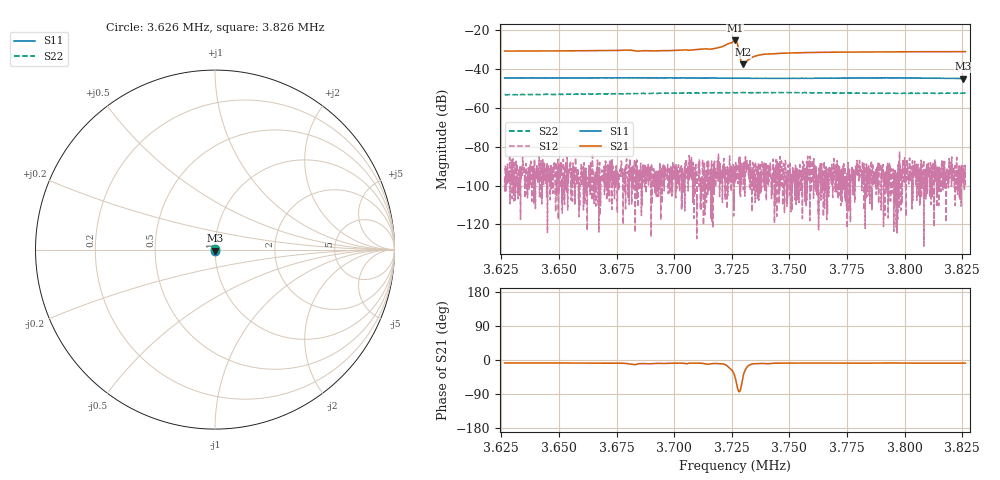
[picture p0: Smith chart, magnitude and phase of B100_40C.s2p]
# Hz S dB R 50.000
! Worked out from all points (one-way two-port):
!   6401 points, 3.626 MHz to 3.826 MHz, reference 50 ohm
!   highest |S21| = -25.32 dB at 3.726 MHz (marker M1); lowest = -37.7 dB at 3.73 MHz (marker M2)
!   lowest |S11| = -45.0 dB at 3.825 MHz (marker M3), VSWR 1.01, Z = 49.9 - j0.559 ohm
!   |S11| at or under -10 dB: start of sweep to end of sweep
!   |S22| runs from -53.4 to -52.0 dB; largest |S21 - S12| = 0.054
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3626406  -44.66 -95.8  -30.77 -7.8  -96.09 165.2  -53.16 107.0
3659750  -44.58 -94.9  -30.64 -8.1  -93.02 -8.7  -52.83 107.5
3679906  -44.62 -95.3  -30.23 -9.8  -102.61 51.7  -52.61 103.9
3684218  -44.56 -95.2  -30.84 -10.3  -109.16 -118.5  -52.65 103.2
3693094  -44.60 -95.3  -30.61 -8.9  -96.21 92.9  -52.48 101.8
3716344  -44.68 -95.3  -29.69 -9.5  -95.60 10.0  -52.28 103.4
3720406  -44.75 -95.3  -28.70 -9.8  -92.74 51.0  -52.15 103.4
3726406  -44.75 -95.4  -25.32 -44.9  -96.01 42.6  -52.27 105.3
3726875  -44.79 -95.2  -25.57 -56.6  -93.45 -37.8  -52.30 104.7
3727344  -44.78 -95.2  -26.67 -70.2  -93.72 158.2  -52.26 105.2
3727781  -44.80 -95.4  -28.73 -79.8  -99.06 -5.0  -52.11 105.3
3728968  -44.77 -95.1  -35.72 -73.7  -90.91 142.4  -52.16 105.3
3729406  -44.72 -95.2  -37.26 -59.8  -90.03 -5.1  -52.19 105.7
3729844  -44.81 -95.3  -37.67 -45.8  -89.65 9.5  -52.23 105.8
3730531  -44.78 -95.4  -37.12 -30.8  -92.01 -54.1  -52.13 105.8
3732718  -44.79 -95.3  -34.80 -13.0  -96.14 170.9  -52.24 105.3
3734187  -44.82 -95.5  -33.82 -10.3  -96.41 81.7  -52.25 106.1
3738312  -44.83 -95.5  -32.56 -9.1  -89.91 95.0  -52.18 106.9
3759750  -44.81 -95.4  -31.51 -8.1  -89.33 -9.8  -52.24 109.3
3793094  -44.62 -96.3  -31.24 -7.8  -104.85 52.8  -52.45 105.2
3825312  -44.98 -96.6  -31.08 -8.3  -89.86 -30.4  -52.45 102.9
3826406  -44.98 -96.6  -31.07 -8.3  -99.79 54.0  -52.49 102.5
